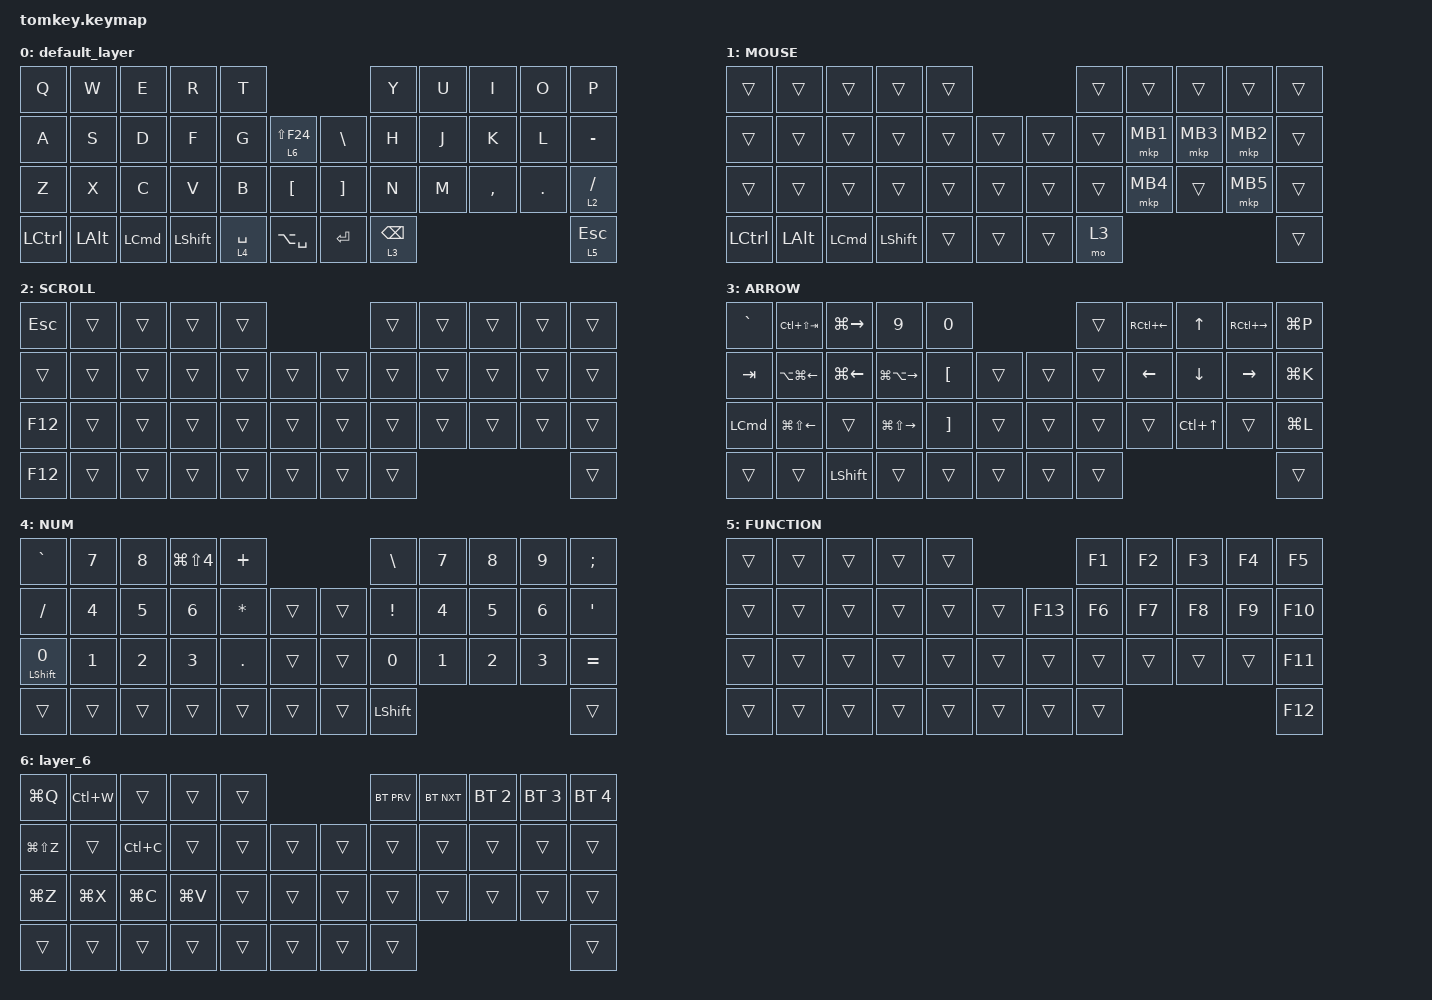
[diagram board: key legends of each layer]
#include <behaviors.dtsi>
#include <dt-bindings/zmk/bt.h>
#include <dt-bindings/zmk/keys.h>
#include <dt-bindings/zmk/pointing.h>

// OS設定を日本語キーボードのまま使用するための変換定義

#define JP_DQUOTE       AT                // "
#define JP_AMPERSAND    CARET             // &
#define JP_QUOTE        AMPERSAND         // '
#define JP_EQUAL        UNDER             // =
#define JP_CARET        EQUAL             // ^
#define JP_YEN          0x89              // ¥
#define JP_PLUS         COLON             // +
#define JP_TILDE        PLUS              // ~
#define JP_PIPE         LS(0x89)          // |
#define JP_AT           LEFT_BRACKET      // @
#define JP_COLON        SINGLE_QUOTE      // :
#define JP_ASTERISK     DOUBLE_QUOTES     // *
#define JP_BACKQUOTE    LEFT_BRACE        // `
#define JP_UNDERSCORE   LS(0x87)          // _
#define JP_LBRACKET     RIGHT_BRACKET     // [
#define JP_RBRACKET     BACKSLASH         // ]
#define JP_LPAREN       ASTERISK          // (
#define JP_RPAREN       LEFT_PARENTHESIS  // )
#define JP_LBRACE       RIGHT_BRACE       // {
#define JP_RBRACE       PIPE              // }
#define JP_KANA         LANGUAGE_1        // かな
#define JP_EISU         LANGUAGE_2        // 英数
#define JP_HANZEN       GRAVE             // 半角/全角

/ {
    keymap {
        compatible = "zmk,keymap";

        default_layer {
            bindings = <
&kp Q      &kp W         &kp E             &kp R           &kp T                                                 &kp Y            &kp U  &kp I      &kp O    &kp P
&kp A      &kp S         &kp D             &kp F           &kp G        &lt 6 LS(F24)         &kp BACKSLASH      &kp H            &kp J  &kp K      &kp L    &kp MINUS
&kp Z      &kp X         &kp C             &kp V           &kp B        &kp LEFT_BRACKET      &kp RIGHT_BRACKET  &kp N            &kp M  &kp COMMA  &kp DOT  &lt 2 SLASH
&kp LCTRL  &kp LEFT_ALT  &kp LEFT_COMMAND  &kp LEFT_SHIFT  &lt 4 SPACE  &kp LA(SPACE)         &kp ENTER          &lt 3 BACKSPACE                             &lt 5 ESCAPE
            >;
        };

        MOUSE {
            bindings = <
&trans     &trans        &trans            &trans          &trans                      &trans  &trans    &trans    &trans    &trans
&trans     &trans        &trans            &trans          &trans  &trans      &trans  &trans  &mkp MB1  &mkp MB3  &mkp MB2  &trans
&trans     &trans        &trans            &trans          &trans  &trans      &trans  &trans  &mkp MB4  &trans    &mkp MB5  &trans
&kp LCTRL  &kp LEFT_ALT  &kp LEFT_COMMAND  &kp LEFT_SHIFT  &trans  &trans      &trans  &mo 3                                 &trans
            >;
        };

        SCROLL {
            bindings = <
&kp ESCAPE  &trans  &trans  &trans  &trans                      &trans  &trans  &trans  &trans  &trans
&trans      &trans  &trans  &trans  &trans  &trans      &trans  &trans  &trans  &trans  &trans  &trans
&kp F12     &trans  &trans  &trans  &trans  &trans      &trans  &trans  &trans  &trans  &trans  &trans
&kp F12     &trans  &trans  &trans  &trans  &trans      &trans  &trans                          &trans
            >;
        };

        ARROW {
            bindings = <
&kp GRAVE  &kp LC(LS(TAB))         &kp LG(RIGHT)   &kp NUMBER_9             &kp NUMBER_0                           &trans  &kp RC(LEFT_ARROW)  &kp UP_ARROW      &kp RC(RIGHT_ARROW)  &kp LG(P)
&kp TAB    &kp LA(LG(LEFT_ARROW))  &kp LG(LEFT)    &kp LG(LA(RIGHT_ARROW))  &kp LEFT_BRACKET   &trans      &trans  &trans  &kp LEFT_ARROW      &kp DOWN_ARROW    &kp RIGHT_ARROW      &kp LG(K)
&kp LCMD   &kp LG(LS(LEFT_ARROW))  &trans          &kp LG(LS(RIGHT_ARROW))  &kp RIGHT_BRACKET  &trans      &trans  &trans  &trans              &kp LC(UP_ARROW)  &trans               &kp LG(L)
&trans     &trans                  &kp LEFT_SHIFT  &trans                   &trans             &trans      &trans  &trans                                                             &trans
            >;
        };

        NUM {
            bindings = <
&kp GRAVE                &kp NUMBER_7  &kp NUMBER_8  &kp LG(LS(NUMBER_4))  &kp PLUS                          &kp BACKSLASH    &kp NUMBER_7  &kp NUMBER_8  &kp NUMBER_9  &kp SEMICOLON
&kp SLASH                &kp NUMBER_4  &kp NUMBER_5  &kp NUMBER_6          &kp ASTERISK  &trans      &trans  &kp EXCLAMATION  &kp NUMBER_4  &kp NUMBER_5  &kp NUMBER_6  &kp SQT
&mt LEFT_SHIFT NUMBER_0  &kp NUMBER_1  &kp NUMBER_2  &kp NUMBER_3          &kp PERIOD    &trans      &trans  &kp NUMBER_0     &kp NUMBER_1  &kp NUMBER_2  &kp NUMBER_3  &kp EQUAL
&trans                   &trans        &trans        &trans                &trans        &trans      &trans  &kp LEFT_SHIFT                                             &trans
            >;
        };

        FUNCTION {
            bindings = <
&trans  &trans  &trans  &trans  &trans                       &kp F1  &kp F2  &kp F3  &kp F4  &kp F5
&trans  &trans  &trans  &trans  &trans  &trans      &kp F13  &kp F6  &kp F7  &kp F8  &kp F9  &kp F10
&trans  &trans  &trans  &trans  &trans  &trans      &trans   &trans  &trans  &trans  &trans  &kp F11
&trans  &trans  &trans  &trans  &trans  &trans      &trans   &trans                          &kp F12
            >;
        };

        layer_6 {
            bindings = <
&kp LG(Q)      &kp LC(W)  &trans     &trans     &trans                      &bt BT_PRV  &bt BT_NXT  &bt BT_SEL 2  &bt BT_SEL 3  &bt BT_SEL 4
&kp LG(LS(Z))  &trans     &kp LC(C)  &trans     &trans  &trans      &trans  &trans      &trans      &trans        &trans        &trans
&kp LG(Z)      &kp LG(X)  &kp LG(C)  &kp LG(V)  &trans  &trans      &trans  &trans      &trans      &trans        &trans        &trans
&trans         &trans     &trans     &trans     &trans  &trans      &trans  &trans                                              &trans
            >;
        };
    };
};
